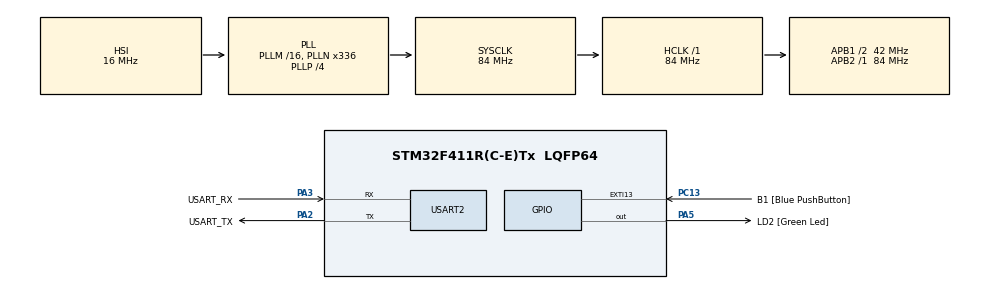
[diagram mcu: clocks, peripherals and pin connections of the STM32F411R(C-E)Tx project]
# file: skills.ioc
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Mcu.Family=STM32F4
Mcu.Name=STM32F411R(C-E)Tx
Mcu.Package=LQFP64
NVIC.PriorityGroup=NVIC_PRIORITYGROUP_0
PA13.GPIO_Label=TMS
PA13.Mode=Serial_Wire
PA13.Signal=SYS_JTMS-SWDIO
PA14.GPIO_Label=TCK
PA14.Mode=Serial_Wire
PA14.Signal=SYS_JTCK-SWCLK
PA2.GPIO_Label=USART_TX
PA2.Mode=Asynchronous
PA2.Signal=USART2_TX
PA3.GPIO_Label=USART_RX
PA3.Mode=Asynchronous
PA3.Signal=USART2_RX
PA5.GPIO_Label=LD2 [Green Led]
PA5.Signal=GPIO_Output
PB3.GPIO_Label=SWO
PB3.Signal=SYS_JTDO-SWO
PC13-ANTI_TAMP.GPIO_Label=B1 [Blue PushButton]
PC13-ANTI_TAMP.GPIO_ModeDefaultEXTI=GPIO_MODE_IT_RISING_FALLING
PC13-ANTI_TAMP.Signal=GPXTI13
PC14-OSC32_IN.Mode=LSE-External-Oscillator
PC14-OSC32_IN.Signal=RCC_OSC32_IN
PC15-OSC32_OUT.Mode=LSE-External-Oscillator
PC15-OSC32_OUT.Signal=RCC_OSC32_OUT
PH0\ -\ OSC_IN.Mode=HSE-External-Clock-Source
PH0\ -\ OSC_IN.Signal=RCC_OSC_IN
PH1\ -\ OSC_OUT.Mode=HSE-External-Clock-Source
PH1\ -\ OSC_OUT.Signal=RCC_OSC_OUT
ProjectManager.HeapSize=0x200
ProjectManager.StackSize=0x400
ProjectManager.TargetToolchain=STM32CubeIDE
RCC.48MHZClocksFreq_Value=84000000
RCC.AHBFreq_Value=84000000
RCC.APB1CLKDivider=RCC_HCLK_DIV2
RCC.APB1Freq_Value=42000000
RCC.APB1TimFreq_Value=84000000
RCC.APB2Freq_Value=84000000
RCC.APB2TimFreq_Value=84000000
RCC.CortexFreq_Value=84000000
RCC.FLatency-AdvancedSettings=FLASH_LATENCY_2
RCC.HCLKFreq_Value=84000000
RCC.HSE_VALUE=8000000
RCC.HSI_VALUE=16000000
RCC.PLLN=336
RCC.PLLP=RCC_PLLP_DIV4
RCC.SYSCLKFreq_VALUE=84000000
RCC.SYSCLKSource=RCC_SYSCLKSOURCE_PLLCLK
RCC.VCOOutputFreq_Value=336000000
USART2.VirtualMode=VM_ASYNC
board=NUCLEO-F411RE

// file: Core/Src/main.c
/* USER CODE BEGIN Header */
/**
 ******************************************************************************
 * @file           : main.c
 * @brief          : Main program body
 ******************************************************************************
 * @attention
 *
 * Copyright (c) 2024 STMicroelectronics.
 * All rights reserved.
 *
 * This software is licensed under terms that can be found in the LICENSE file
 * in the root directory of this software component.
 * If no LICENSE file comes with this software, it is provided AS-IS.
 *
 ******************************************************************************
 */
/* USER CODE END Header */
#include "main.h"

UART_HandleTypeDef huart2;

void SystemClock_Config(void);
static void MX_GPIO_Init(void);
static void MX_USART2_UART_Init(void);

/* USER CODE BEGIN 0 */
/*uint8_t studentID[10]; // 6531347621
 uint8_t test[255];
 uint8_t clickCount = 0;
 uint8_t showIndex = 0;

 uint8_t state = 2;
 uint8_t isPushing = 0;
 uint32_t lastPushTick = 0;
 uint32_t debounceTick = 50;

 void HAL_GPIO_EXTI_Callback(uint16_t GPIO_Pin) {
 if (HAL_GetTick() - lastPushTick < debounceTick) {
 return;
 }

 sprintf(test,"pressed");
 HAL_UART_Transmit(&huart2, test, strlen(test), 1000);
 if (isPushing == 0
 && HAL_GPIO_ReadPin(GPIOC, GPIO_PIN_13) == GPIO_PIN_RESET) {

 sprintf(studentID,"6531347621");
 showIndex = (clickCount % 10);
 HAL_UART_Transmit(&huart2, studentID + showIndex, 1, 1000);

 clickCount++;
 isPushing = 1;
 lastPushTick = HAL_GetTick();
 }

 if (isPushing == 1
 && HAL_GPIO_ReadPin(GPIOC, GPIO_PIN_13) == GPIO_PIN_SET) {
 isPushing = 0;
 }
 }*/
/* USER CODE END 0 */

int main(void) {

	/* MCU Configuration--------------------------------------------------------*/

	/* Reset of all peripherals, Initializes the Flash interface and the Systick. */
	HAL_Init();

	/* Configure the system clock */
	SystemClock_Config();

	/* Initialize all configured peripherals */
	MX_GPIO_Init();
	MX_USART2_UART_Init();
	/* USER CODE BEGIN 2 */
	uint8_t buttonState = 0;
	uint8_t lastButtonState = 0;
	uint8_t clickCount = 0;

	uint8_t studentID[10]; // 6531347621
	uint8_t test[255];
	/* USER CODE END 2 */

	/* Infinite loop */
	while (1) {

		/* USER CODE BEGIN 3 */
		buttonState = HAL_GPIO_ReadPin(GPIOC, GPIO_PIN_13);

		if (buttonState == GPIO_PIN_RESET && lastButtonState == GPIO_PIN_SET) {
			HAL_Delay(10);

			if (HAL_GPIO_ReadPin(GPIOC, GPIO_PIN_13) == GPIO_PIN_RESET) {
				sprintf(test, "6531347621");
				HAL_UART_Transmit(&huart2, test + (clickCount%10), 1, 1000);
				clickCount++;

			}
		}

		lastButtonState = buttonState;
		HAL_GPIO_TogglePin(GPIOA, GPIO_PIN_5);
		HAL_Delay(50);
	}
	/* USER CODE END 3 */
}

void SystemClock_Config(void) {
	RCC_OscInitTypeDef RCC_OscInitStruct = { 0 };
	RCC_ClkInitTypeDef RCC_ClkInitStruct = { 0 };

	/** Configure the main internal regulator output voltage
	 */
	__HAL_RCC_PWR_CLK_ENABLE();
	__HAL_PWR_VOLTAGESCALING_CONFIG(PWR_REGULATOR_VOLTAGE_SCALE1);

	/** Initializes the RCC Oscillators according to the specified parameters
	 * in the RCC_OscInitTypeDef structure.
	 */
	RCC_OscInitStruct.OscillatorType = RCC_OSCILLATORTYPE_HSI;
	RCC_OscInitStruct.HSIState = RCC_HSI_ON;
	RCC_OscInitStruct.HSICalibrationValue = RCC_HSICALIBRATION_DEFAULT;
	RCC_OscInitStruct.PLL.PLLState = RCC_PLL_ON;
	RCC_OscInitStruct.PLL.PLLSource = RCC_PLLSOURCE_HSI;
	RCC_OscInitStruct.PLL.PLLM = 16;
	RCC_OscInitStruct.PLL.PLLN = 336;
	RCC_OscInitStruct.PLL.PLLP = RCC_PLLP_DIV4;
	RCC_OscInitStruct.PLL.PLLQ = 4;
	if (HAL_RCC_OscConfig(&RCC_OscInitStruct) != HAL_OK) {
		Error_Handler();
	}

	/** Initializes the CPU, AHB and APB buses clocks
	 */
	RCC_ClkInitStruct.ClockType = RCC_CLOCKTYPE_HCLK | RCC_CLOCKTYPE_SYSCLK
			| RCC_CLOCKTYPE_PCLK1 | RCC_CLOCKTYPE_PCLK2;
	RCC_ClkInitStruct.SYSCLKSource = RCC_SYSCLKSOURCE_PLLCLK;
	RCC_ClkInitStruct.AHBCLKDivider = RCC_SYSCLK_DIV1;
	RCC_ClkInitStruct.APB1CLKDivider = RCC_HCLK_DIV2;
	RCC_ClkInitStruct.APB2CLKDivider = RCC_HCLK_DIV1;

	if (HAL_RCC_ClockConfig(&RCC_ClkInitStruct, FLASH_LATENCY_2) != HAL_OK) {
		Error_Handler();
	}
}

static void MX_USART2_UART_Init(void) {

	huart2.Instance = USART2;
	huart2.Init.BaudRate = 115200;
	huart2.Init.WordLength = UART_WORDLENGTH_8B;
	huart2.Init.StopBits = UART_STOPBITS_1;
	huart2.Init.Parity = UART_PARITY_NONE;
	huart2.Init.Mode = UART_MODE_TX_RX;
	huart2.Init.HwFlowCtl = UART_HWCONTROL_NONE;
	huart2.Init.OverSampling = UART_OVERSAMPLING_16;
	if (HAL_UART_Init(&huart2) != HAL_OK) {
		Error_Handler();
	}

}

static void MX_GPIO_Init(void) {
	GPIO_InitTypeDef GPIO_InitStruct = { 0 };

	/* GPIO Ports Clock Enable */
	__HAL_RCC_GPIOC_CLK_ENABLE();
	__HAL_RCC_GPIOH_CLK_ENABLE();
	__HAL_RCC_GPIOA_CLK_ENABLE();
	__HAL_RCC_GPIOB_CLK_ENABLE();

	/*Configure GPIO pin Output Level */
	HAL_GPIO_WritePin(LD2_GPIO_Port, LD2_Pin, GPIO_PIN_RESET);

	/*Configure GPIO pin : B1_Pin */
	GPIO_InitStruct.Pin = B1_Pin;
	GPIO_InitStruct.Mode = GPIO_MODE_IT_RISING_FALLING;
	GPIO_InitStruct.Pull = GPIO_NOPULL;
	HAL_GPIO_Init(B1_GPIO_Port, &GPIO_InitStruct);

	/*Configure GPIO pin : LD2_Pin */
	GPIO_InitStruct.Pin = LD2_Pin;
	GPIO_InitStruct.Mode = GPIO_MODE_OUTPUT_PP;
	GPIO_InitStruct.Pull = GPIO_NOPULL;
	GPIO_InitStruct.Speed = GPIO_SPEED_FREQ_LOW;
	HAL_GPIO_Init(LD2_GPIO_Port, &GPIO_InitStruct);

}

void Error_Handler(void) {
	__disable_irq();
	while (1) {
	}
}
